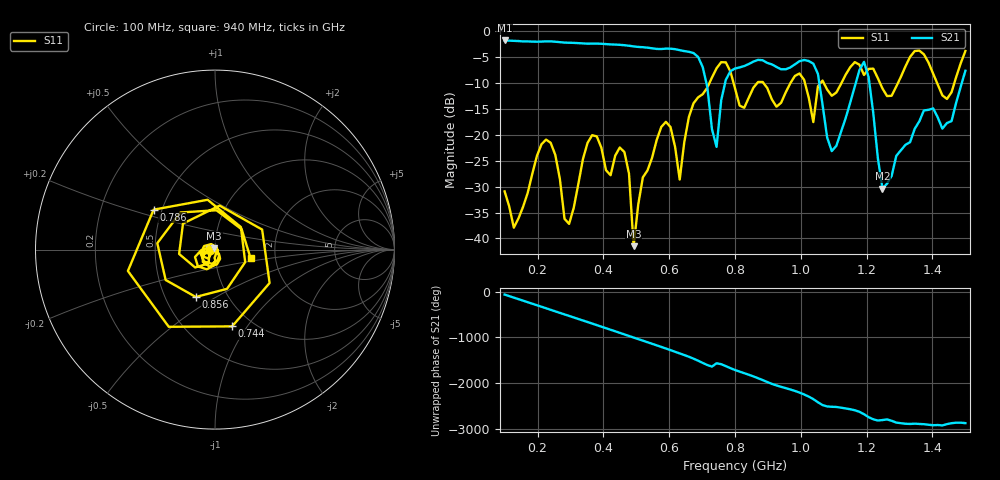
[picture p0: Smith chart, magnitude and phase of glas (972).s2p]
! NanoVNA-App
! Date: 2025-09-25 16:03:02
! Start: 100MHz Stop: 1,5GHz Points: 101
! S-Parameter data: F S11 S21 S12 S22
# Hz S RI R 50
!  Frequency  S11_Real  S11_Imag  S21_Real  S21_Imag  S12_Real  S12_Imag  S22_Real  S22_Imag
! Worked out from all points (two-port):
!   101 points, 100 MHz to 1.5 GHz, reference 50 ohm
!   highest |S21| = -1.80 dB at 100 MHz (marker M1); lowest = -30.4 dB at 1.248 GHz (marker M2)
!   |S21| within 3 dB of the highest: start of sweep to 684.6 MHz
!   lowest |S11| = -41.5 dB at 492 MHz (marker M3), VSWR 1.02, Z = 49.5 + j0.663 ohm
!   |S11| at or under -10 dB: start of sweep to 722.5 MHz; 795.5 MHz to 867.7 MHz (72.14 MHz wide, 8.67 % of centre); 886.4 MHz to 968.6 MHz (82.24 MHz wide, 8.87 % of centre)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
!   S12 and S22 are empty: the file has one direction only
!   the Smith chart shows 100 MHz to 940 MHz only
!   S11 on the Smith chart (normalised r, x): 100 MHz: 0.94, -0.01; 744 MHz: 0.81, -0.85; 786 MHz: 0.45, +0.24; 856 MHz: 0.71, -0.41; 940 MHz: 1.49, -0.15
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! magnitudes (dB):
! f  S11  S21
! 100 MHz  -30.9  -1.8
! 128 MHz  -37.9  -1.9
! 226 MHz  -20.9  -2.0
! 296 MHz  -37.2  -2.2
! 338 MHz  -24.7  -2.4
! 464 MHz  -23.3  -2.7
! 492 MHz  -41.5  -3.0
! 576 MHz  -18.5  -3.5
! 632 MHz  -28.6  -3.7
! 702 MHz  -12.2  -7.0
! 744 MHz  -7.2  -22.3
! 786 MHz  -7.8  -7.7
! 800 MHz  -11.0  -7.2
! 856 MHz  -10.9  -5.9
! 940 MHz  -13.8  -7.4
! 996 MHz  -8.2  -5.8
! 1.038 GHz  -17.5  -6.3
! 1.094 GHz  -12.5  -23.1
! 1.192 GHz  -8.5  -5.9
! 1.248 GHz  -11.1  -30.4
! 1.276 GHz  -12.5  -27.9
! 1.5 GHz  -3.8  -7.6
